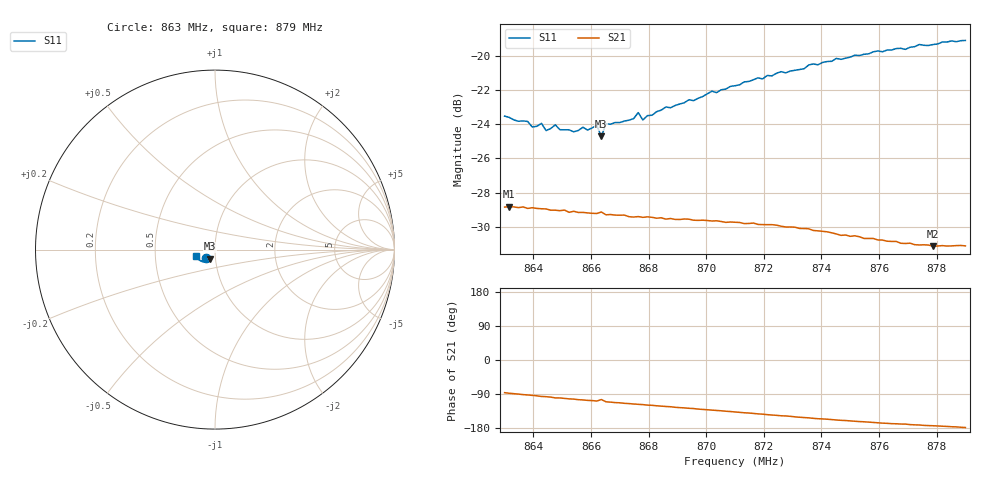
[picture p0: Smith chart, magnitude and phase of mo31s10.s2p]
# HZ S RI R 50
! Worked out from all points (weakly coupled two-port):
!   101 points, 863 MHz to 879 MHz, reference 50 ohm
!   highest |S21| = -28.82 dB at 863.16 MHz (marker M1); lowest = -31.1 dB at 877.88 MHz (marker M2)
!   lowest |S11| = -24.7 dB at 866.36 MHz (marker M3), VSWR 1.12, Z = 46.9 - j4.73 ohm
!   |S11| at or under -10 dB: start of sweep to end of sweep
!   S12 and S22 are empty: the file has one direction only
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8.63e8  -0.0476 -0.0466  0.00236 -0.036  0 0  0 0
8.6316e8  -0.0469 -0.0464  0.00145 -0.0362  0 0  0 0
8.638e8  -0.0438 -0.047  -0.0014 -0.0358  0 0  0 0
8.6396e8  -0.0413 -0.0461  -0.00213 -0.0359  0 0  0 0
8.6428e8  -0.0415 -0.0479  -0.00385 -0.0355  0 0  0 0
8.6444e8  -0.04 -0.0453  -0.00422 -0.0354  0 0  0 0
8.6476e8  -0.0404 -0.0481  -0.00616 -0.0348  0 0  0 0
8.654e8  -0.0359 -0.048  -0.008 -0.0342  0 0  0 0
8.6572e8  -0.0353 -0.0507  -0.00925 -0.0336  0 0  0 0
8.6588e8  -0.0348 -0.0496  -0.00989 -0.0333  0 0  0 0
8.662e8  -0.0357 -0.0514  -0.0109 -0.0328  0 0  0 0
8.6636e8  -0.0292 -0.0502  -0.00867 -0.0339  0 0  0 0
8.6652e8  -0.0348 -0.0528  -0.0119 -0.0322  0 0  0 0
8.6748e8  -0.033 -0.0566  -0.0149 -0.0303  0 0  0 0
8.6764e8  -0.0362 -0.0578  -0.0154 -0.0302  0 0  0 0
8.678e8  -0.0336 -0.0555  -0.0157 -0.0298  0 0  0 0
8.6844e8  -0.0357 -0.0594  -0.0177 -0.0286  0 0  0 0
8.71e8  -0.0456 -0.0678  -0.0239 -0.0222  0 0  0 0
8.7372e8  -0.0641 -0.0695  -0.0277 -0.0136  0 0  0 0
8.7644e8  -0.0861 -0.0582  -0.0281 -0.00596  0 0  0 0
8.7788e8  -0.097 -0.047  -0.0276 -0.00315  0 0  0 0
8.79e8  -0.1043 -0.0374  -0.0278 -0.000864  0 0  0 0
